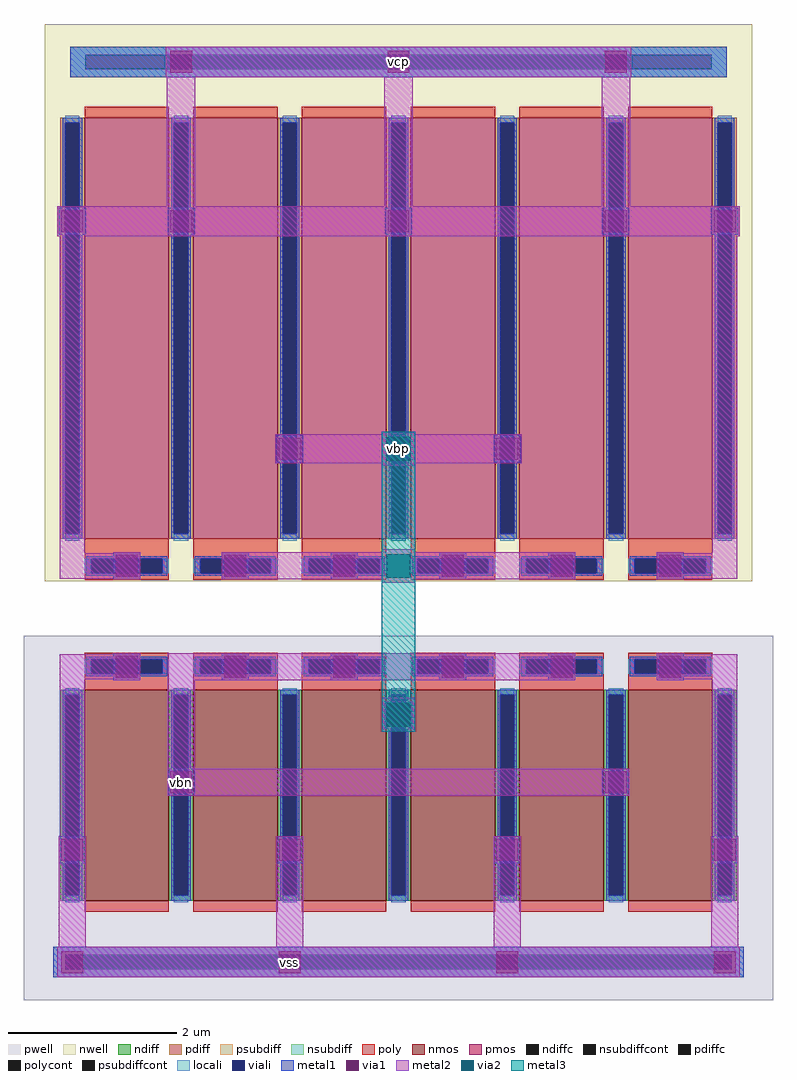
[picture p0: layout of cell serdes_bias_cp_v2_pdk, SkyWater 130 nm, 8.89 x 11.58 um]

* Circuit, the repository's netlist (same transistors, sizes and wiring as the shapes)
* NGSPICE file created from serdes_bias_cp_v2_pdk.ext - technology: sky130A

.subckt serdes_bias_cp_v2_pdk vbn vbp vcp vss
X0 vcp vbp vbp vcp sky130_fd_pr__pfet_01v8 ad=0.725 pd=5.29 as=0.725 ps=5.29 w=5 l=1
X1 vbn vbn vss vss sky130_fd_pr__nfet_01v8 ad=0.3625 pd=2.79 as=0.3625 ps=2.79 w=2.5 l=1
X2 vcp vcp vcp vcp sky130_fd_pr__pfet_01v8 ad=1.45 pd=10.58 as=7.25 ps=52.9 w=5 l=1
X3 vbp vbp vcp vcp sky130_fd_pr__pfet_01v8 ad=0.725 pd=5.29 as=0.725 ps=5.29 w=5 l=1
X4 vbp vbn vss vss sky130_fd_pr__nfet_01v8 ad=0.3625 pd=2.79 as=0.3625 ps=2.79 w=2.5 l=1
X5 vss vbn vbp vss sky130_fd_pr__nfet_01v8 ad=0.3625 pd=2.79 as=0.3625 ps=2.79 w=2.5 l=1
X6 vbn vss vss vss sky130_fd_pr__nfet_01v8 ad=0.3625 pd=2.79 as=0.725 ps=5.58 w=2.5 l=1
X7 vss vbn vbn vss sky130_fd_pr__nfet_01v8 ad=0.3625 pd=2.79 as=0.3625 ps=2.79 w=2.5 l=1
X8 vcp vbp vbp vcp sky130_fd_pr__pfet_01v8 ad=0.725 pd=5.29 as=0.725 ps=5.29 w=5 l=1
X9 vcp vcp vcp vcp sky130_fd_pr__pfet_01v8 ad=0.725 pd=5.29 as=0 ps=0 w=5 l=1
X10 vbp vbp vcp vcp sky130_fd_pr__pfet_01v8 ad=0.725 pd=5.29 as=0.725 ps=5.29 w=5 l=1
X11 vss vss vbn vss sky130_fd_pr__nfet_01v8 ad=0.725 pd=5.58 as=0.3625 ps=2.79 w=2.5 l=1
.ends

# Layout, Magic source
magic
tech sky130A
magscale 1 2
<< nmos >>
rect -745 -281 -545 219
rect -487 -281 -287 219
rect -229 -281 -29 219
rect 29 -281 229 219
rect 287 -281 487 219
rect 545 -281 745 219
<< ndiff >>
rect -803 207 -745 219
rect -803 -269 -791 207
rect -757 -269 -745 207
rect -803 -281 -745 -269
rect -545 207 -487 219
rect -545 -269 -533 207
rect -499 -269 -487 207
rect -545 -281 -487 -269
rect -287 207 -229 219
rect -287 -269 -275 207
rect -241 -269 -229 207
rect -287 -281 -229 -269
rect -29 207 29 219
rect -29 -269 -17 207
rect 17 -269 29 207
rect -29 -281 29 -269
rect 229 207 287 219
rect 229 -269 241 207
rect 275 -269 287 207
rect 229 -281 287 -269
rect 487 207 545 219
rect 487 -269 499 207
rect 533 -269 545 207
rect 487 -281 545 -269
rect 745 207 803 219
rect 745 -269 757 207
rect 791 -269 803 207
rect 745 -281 803 -269
<< ndiffc >>
rect -791 -269 -757 207
rect -533 -269 -499 207
rect -275 -269 -241 207
rect -17 -269 17 207
rect 241 -269 275 207
rect 499 -269 533 207
rect 757 -269 791 207
<< poly >>
rect -745 291 -545 307
rect -745 257 -729 291
rect -561 257 -545 291
rect -745 219 -545 257
rect -487 291 -287 307
rect -487 257 -471 291
rect -303 257 -287 291
rect -487 219 -287 257
rect -229 291 -29 307
rect -229 257 -213 291
rect -45 257 -29 291
rect -229 219 -29 257
rect 29 291 229 307
rect 29 257 45 291
rect 213 257 229 291
rect 29 219 229 257
rect 287 291 487 307
rect 287 257 303 291
rect 471 257 487 291
rect 287 219 487 257
rect 545 291 745 307
rect 545 257 561 291
rect 729 257 745 291
rect 545 219 745 257
rect -745 -307 -545 -281
rect -487 -307 -287 -281
rect -229 -307 -29 -281
rect 29 -307 229 -281
rect 287 -307 487 -281
rect 545 -307 745 -281
rect -745 1577 -545 1603
rect -487 1577 -287 1603
rect -229 1577 -29 1603
rect 29 1577 229 1603
rect 287 1577 487 1603
rect 545 1577 745 1603
rect -745 530 -545 577
rect -745 496 -729 530
rect -561 496 -545 530
rect -745 480 -545 496
rect -487 530 -287 577
rect -487 496 -471 530
rect -303 496 -287 530
rect -487 480 -287 496
rect -229 530 -29 577
rect -229 496 -213 530
rect -45 496 -29 530
rect -229 480 -29 496
rect 29 530 229 577
rect 29 496 45 530
rect 213 496 229 530
rect 29 480 229 496
rect 287 530 487 577
rect 287 496 303 530
rect 471 496 487 530
rect 287 480 487 496
rect 545 530 745 577
rect 545 496 561 530
rect 729 496 745 530
rect 545 480 745 496
<< polycont >>
rect -729 257 -561 291
rect -471 257 -303 291
rect -213 257 -45 291
rect 45 257 213 291
rect 303 257 471 291
rect 561 257 729 291
rect -729 496 -561 530
rect -471 496 -303 530
rect -213 496 -45 530
rect 45 496 213 530
rect 303 496 471 530
rect 561 496 729 530
<< locali >>
rect -745 257 -729 291
rect -561 257 -545 291
rect -487 257 -471 291
rect -303 257 -287 291
rect -229 257 -213 291
rect -45 257 -29 291
rect 29 257 45 291
rect 213 257 229 291
rect 287 257 303 291
rect 471 257 487 291
rect 545 257 561 291
rect 729 257 745 291
rect -791 207 -757 223
rect -791 -285 -757 -269
rect -533 207 -499 223
rect -533 -285 -499 -269
rect -275 207 -241 223
rect -275 -285 -241 -269
rect -17 207 17 223
rect -17 -285 17 -269
rect 241 207 275 223
rect 241 -285 275 -269
rect 499 207 533 223
rect 499 -285 533 -269
rect 757 207 791 223
rect 757 -285 791 -269
rect -791 1565 -757 1581
rect -791 573 -757 589
rect -533 1565 -499 1581
rect -533 573 -499 589
rect -275 1565 -241 1581
rect -275 573 -241 589
rect -17 1565 17 1581
rect -17 573 17 589
rect 241 1565 275 1581
rect 241 573 275 589
rect 499 1565 533 1581
rect 499 573 533 589
rect 757 1565 791 1581
rect 757 573 791 589
rect -745 496 -729 530
rect -561 496 -545 530
rect -487 496 -471 530
rect -303 496 -287 530
rect -229 496 -213 530
rect -45 496 -29 530
rect 29 496 45 530
rect 213 496 229 530
rect 287 496 303 530
rect 471 496 487 530
rect 545 496 561 530
rect 729 496 745 530
rect -779 1673 779 1745
rect -819 -463 819 -391
<< viali >>
rect -729 257 -561 291
rect -471 257 -303 291
rect -213 257 -45 291
rect 45 257 213 291
rect 303 257 471 291
rect 561 257 729 291
rect -791 -269 -757 207
rect -533 -269 -499 207
rect -275 -269 -241 207
rect -17 -269 17 207
rect 241 -269 275 207
rect 499 -269 533 207
rect 757 -269 791 207
rect -791 589 -757 1565
rect -533 589 -499 1565
rect -275 589 -241 1565
rect -17 589 17 1565
rect 241 589 275 1565
rect 499 589 533 1565
rect 757 589 791 1565
rect -729 496 -561 530
rect -471 496 -303 530
rect -213 496 -45 530
rect 45 496 213 530
rect 303 496 471 530
rect 561 496 729 530
rect -533 1692 -499 1726
rect -17 1692 17 1726
rect 499 1692 533 1726
rect -791 -444 -757 -410
rect -275 -444 -241 -410
rect 241 -444 275 -410
rect 757 -444 791 -410
<< metal1 >>
rect -741 291 -549 297
rect -741 257 -729 291
rect -561 257 -549 291
rect -741 251 -549 257
rect -483 291 -291 297
rect -483 257 -471 291
rect -303 257 -291 291
rect -483 251 -291 257
rect -225 291 -33 297
rect -225 257 -213 291
rect -45 257 -33 291
rect -225 251 -33 257
rect 33 291 225 297
rect 33 257 45 291
rect 213 257 225 291
rect 33 251 225 257
rect 291 291 483 297
rect 291 257 303 291
rect 471 257 483 291
rect 291 251 483 257
rect 549 291 741 297
rect 549 257 561 291
rect 729 257 741 291
rect 549 251 741 257
rect -797 207 -751 219
rect -797 -269 -791 207
rect -757 -269 -751 207
rect -797 -281 -751 -269
rect -539 207 -493 219
rect -539 -269 -533 207
rect -499 -269 -493 207
rect -539 -281 -493 -269
rect -281 207 -235 219
rect -281 -269 -275 207
rect -241 -269 -235 207
rect -281 -281 -235 -269
rect -23 207 23 219
rect -23 -269 -17 207
rect 17 -269 23 207
rect -23 -281 23 -269
rect 235 207 281 219
rect 235 -269 241 207
rect 275 -269 281 207
rect 235 -281 281 -269
rect 493 207 539 219
rect 493 -269 499 207
rect 533 -269 539 207
rect 493 -281 539 -269
rect 751 207 797 219
rect 751 -269 757 207
rect 791 -269 797 207
rect 751 -281 797 -269
rect -797 1565 -751 1577
rect -797 589 -791 1565
rect -757 589 -751 1565
rect -797 577 -751 589
rect -539 1565 -493 1577
rect -539 589 -533 1565
rect -499 589 -493 1565
rect -539 577 -493 589
rect -281 1565 -235 1577
rect -281 589 -275 1565
rect -241 589 -235 1565
rect -281 577 -235 589
rect -23 1565 23 1577
rect -23 589 -17 1565
rect 17 589 23 1565
rect -23 577 23 589
rect 235 1565 281 1577
rect 235 589 241 1565
rect 275 589 281 1565
rect 235 577 281 589
rect 493 1565 539 1577
rect 493 589 499 1565
rect 533 589 539 1565
rect 493 577 539 589
rect 751 1565 797 1577
rect 751 589 757 1565
rect 791 589 797 1565
rect 751 577 797 589
rect -741 530 -549 536
rect -741 496 -729 530
rect -561 496 -549 530
rect -741 490 -549 496
rect -483 530 -291 536
rect -483 496 -471 530
rect -303 496 -291 530
rect -483 490 -291 496
rect -225 530 -33 536
rect -225 496 -213 530
rect -45 496 -33 530
rect -225 490 -33 496
rect 33 530 225 536
rect 33 496 45 530
rect 213 496 225 530
rect 33 490 225 496
rect 291 530 483 536
rect 291 496 303 530
rect 471 496 483 530
rect 291 490 483 496
rect 549 530 741 536
rect 549 496 561 530
rect 729 496 741 530
rect 549 490 741 496
rect -779 1673 779 1745
rect -548 1677 -484 1741
rect -32 1677 32 1741
rect 484 1677 548 1741
rect -819 -463 819 -391
rect -806 -459 -742 -395
rect -290 -459 -226 -395
rect 226 -459 290 -395
rect 742 -459 806 -395
rect -806 -192 -742 -128
rect -290 -192 -226 -128
rect 226 -192 290 -128
rect 742 -192 806 -128
rect -677 242 -613 306
rect 613 242 677 306
rect -548 -32 -484 32
rect 484 -32 548 32
rect -419 242 -355 306
rect -161 242 -97 306
rect 97 242 161 306
rect 355 242 419 306
rect -32 128 32 192
rect -806 1299 -742 1363
rect -548 1299 -484 1363
rect -32 1299 32 1363
rect 484 1299 548 1363
rect 742 1299 806 1363
rect -677 481 -613 545
rect 613 481 677 545
rect -290 759 -226 823
rect 226 759 290 823
rect -419 481 -355 545
rect -161 481 -97 545
rect 97 481 161 545
rect 355 481 419 545
<< nwell >>
rect -839 477 839 1639
rect -839 477 839 1799
<< pmos >>
rect -745 577 -545 1577
rect -487 577 -287 1577
rect -229 577 -29 1577
rect 29 577 229 1577
rect 287 577 487 1577
rect 545 577 745 1577
<< pdiff >>
rect -803 1565 -745 1577
rect -803 589 -791 1565
rect -757 589 -745 1565
rect -803 577 -745 589
rect -545 1565 -487 1577
rect -545 589 -533 1565
rect -499 589 -487 1565
rect -545 577 -487 589
rect -287 1565 -229 1577
rect -287 589 -275 1565
rect -241 589 -229 1565
rect -287 577 -229 589
rect -29 1565 29 1577
rect -29 589 -17 1565
rect 17 589 29 1565
rect -29 577 29 589
rect 229 1565 287 1577
rect 229 589 241 1565
rect 275 589 287 1565
rect 229 577 287 589
rect 487 1565 545 1577
rect 487 589 499 1565
rect 533 589 545 1565
rect 487 577 545 589
rect 745 1565 803 1577
rect 745 589 757 1565
rect 791 589 803 1565
rect 745 577 803 589
<< pdiffc >>
rect -791 589 -757 1565
rect -533 589 -499 1565
rect -275 589 -241 1565
rect -17 589 17 1565
rect 241 589 275 1565
rect 499 589 533 1565
rect 757 589 791 1565
<< nsubdiff >>
rect -779 1673 779 1745
<< nsubdiffcont >>
rect -743 1692 743 1726
<< via1 >>
rect -542 1683 -490 1735
rect -26 1683 26 1735
rect 490 1683 542 1735
rect -800 -453 -748 -401
rect -284 -453 -232 -401
rect 232 -453 284 -401
rect 748 -453 800 -401
rect -800 -186 -748 -134
rect -284 -186 -232 -134
rect 232 -186 284 -134
rect 748 -186 800 -134
rect -671 248 -619 300
rect 619 248 671 300
rect -542 -26 -490 26
rect 490 -26 542 26
rect -413 248 -361 300
rect -155 248 -103 300
rect 103 248 155 300
rect 361 248 413 300
rect -26 134 26 186
rect -800 1305 -748 1357
rect -542 1305 -490 1357
rect -26 1305 26 1357
rect 490 1305 542 1357
rect 748 1305 800 1357
rect -671 487 -619 539
rect 619 487 671 539
rect -284 765 -232 817
rect 232 765 284 817
rect -413 487 -361 539
rect -155 487 -103 539
rect 103 487 155 539
rect 361 487 413 539
<< metal2 >>
rect -548 1677 -484 1741
rect -32 1677 32 1741
rect 484 1677 548 1741
rect -806 -459 -742 -395
rect -290 -459 -226 -395
rect 226 -459 290 -395
rect 742 -459 806 -395
rect -806 -192 -742 -128
rect -806 -459 -742 -128
rect -290 -192 -226 -128
rect -290 -459 -226 -128
rect 226 -192 290 -128
rect 226 -459 290 -128
rect 742 -192 806 -128
rect 742 -459 806 -128
rect -810 -463 810 -391
rect -677 242 -613 306
rect -804 244 -615 304
rect -804 -190 -744 304
rect 613 242 677 306
rect 615 244 804 304
rect 744 -190 804 304
rect -548 -32 -484 32
rect 484 -32 548 32
rect -548 -32 548 32
rect -419 242 -355 306
rect -161 242 -97 306
rect 97 242 161 306
rect 355 242 419 306
rect -548 242 419 306
rect -548 -32 -484 306
rect -32 128 32 192
rect -40 120 40 200
rect -806 1299 -742 1363
rect -548 1299 -484 1363
rect -32 1299 32 1363
rect 484 1299 548 1363
rect 742 1299 806 1363
rect -810 1295 810 1367
rect -550 1297 -482 1743
rect -34 1297 34 1743
rect 482 1297 550 1743
rect -552 1673 552 1745
rect -677 481 -613 545
rect -804 483 -615 543
rect -804 483 -744 1361
rect 613 481 677 545
rect 615 483 804 543
rect 744 483 804 1361
rect -290 759 -226 823
rect 226 759 290 823
rect -292 757 292 825
rect -419 481 -355 545
rect -161 481 -97 545
rect 97 481 161 545
rect 355 481 419 545
rect -419 481 419 545
rect -40 751 40 831
rect -40 473 40 553
rect -292 757 292 825
rect -419 481 419 545
<< pwell >>
rect -889 -517 889 347
<< psubdiff >>
rect -819 -463 819 -391
<< psubdiffcont >>
rect -783 -444 783 -410
<< via2 >>
rect -28 132 28 188
rect -28 763 28 819
rect -28 485 28 541
<< metal3 >>
rect -40 120 40 200
rect -40 751 40 831
rect -40 473 40 553
rect -40 120 40 831
<< labels >>
rlabel metal2 -516 0 -516 0 0 vbn
port 1 nsew
rlabel metal3 0 791 0 791 0 vbp
port 2 nsew
rlabel metal2 0 1709 0 1709 0 vcp
port 3 nsew
rlabel metal2 -258 -427 -258 -427 0 vss
port 4 nsew
<< end >>
